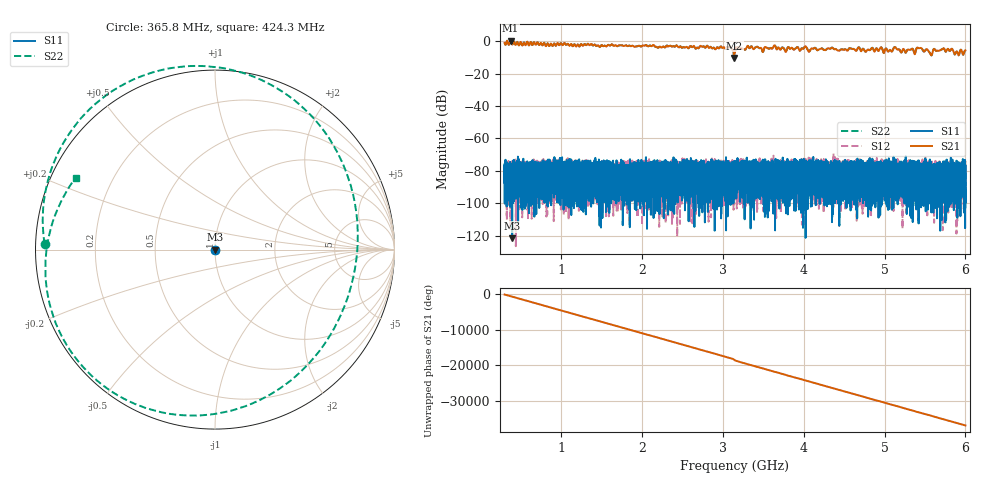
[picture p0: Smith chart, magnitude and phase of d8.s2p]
!Agilent Technologies,N5230C,SG49000117,A.08.50.07
!Agilent N5230C: A.08.50.07
!Date: Monday, March 18, 2024 18:14:27
!Correction: S11(Off)
!S21(Off)
!S12(Off)
!S22(Off)
!S2P File: Measurements: S11, S21, S12, S22:
# Hz S  RI  R 50
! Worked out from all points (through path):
!   20001 points, 300 MHz to 6 GHz, reference 50 ohm
!   highest |S21| = 0.42 dB at 373.2 MHz (marker M1); lowest = -10.4 dB at 3.14 GHz (marker M2)
!   lowest |S11| = -121.7 dB at 393.5 MHz (marker M3), VSWR 1.00, Z = 50 - j2.83e-05 ohm
!   |S11| at or under -10 dB: start of sweep to end of sweep
!   |S22| runs from -10.4 to 0.4 dB; largest |S21 - S12| = 1
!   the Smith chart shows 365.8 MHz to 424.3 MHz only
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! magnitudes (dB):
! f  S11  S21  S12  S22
! 300 MHz  -77.4  -1.0  -75.9  -1.0
! 373.2 MHz  -78.9  0.4  -77.6  0.4
! 393.5 MHz  -121.7  -2.1  -85.0  -2.1
! 1.25 GHz  -83.4  -1.9  -79.2  -1.8
! 2.2 GHz  -88.2  -4.1  -75.3  -4.1
! 3.074 GHz  -79.8  -3.8  -81.9  -3.7
! 3.14 GHz  -80.4  -10.4  -78.9  -10.4
! 3.15 GHz  -86.6  -4.1  -88.4  -4.1
! 3.327 GHz  -83.7  -4.3  -93.1  -4.2
! 3.482 GHz  -89.6  -5.0  -89.9  -5.0
! 3.631 GHz  -85.5  -2.9  -74.0  -2.8
! 3.771 GHz  -75.4  -6.2  -89.6  -6.1
! 4.1 GHz  -83.8  -4.4  -81.3  -4.3
! 5.05 GHz  -82.0  -6.3  -79.6  -6.2
! 5.133 GHz  -76.3  -3.7  -83.5  -3.7
! 5.192 GHz  -75.8  -5.8  -91.8  -5.8
! 5.367 GHz  -98.4  -7.3  -82.2  -7.3
! 5.427 GHz  -79.3  -4.3  -84.8  -4.3
! 5.569 GHz  -93.1  -8.0  -88.5  -8.0
! 5.716 GHz  -76.1  -4.9  -79.0  -4.9
! 5.893 GHz  -92.2  -6.3  -85.7  -6.4
! 6 GHz  -92.3  -5.7  -84.7  -5.7
